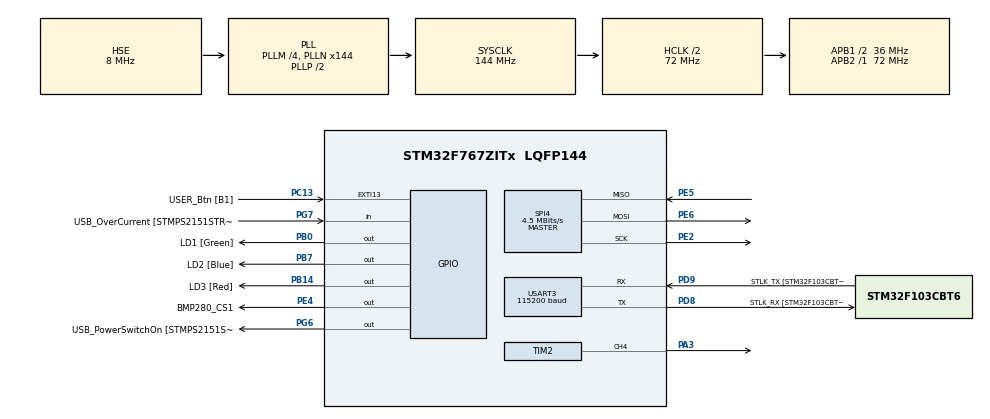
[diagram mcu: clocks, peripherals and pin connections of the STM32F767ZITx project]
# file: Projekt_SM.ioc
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ARM.CMSIS.5.6.0.CMSISJjCORE=true
ARM.CMSIS.5.6.0.CMSISJjDSP=Library
Mcu.Family=STM32F7
Mcu.Name=STM32F767ZITx
Mcu.Package=LQFP144
NVIC.EXTI15_10_IRQn=true\:0\:0\:false\:false\:true\:true\:true
NVIC.PriorityGroup=NVIC_PRIORITYGROUP_4
NVIC.SPI4_IRQn=true\:0\:0\:false\:false\:true\:true\:true
NVIC.TIM2_IRQn=true\:0\:0\:false\:false\:true\:true\:true
NVIC.TIM3_IRQn=true\:0\:0\:false\:false\:true\:true\:true
NVIC.TIM4_IRQn=true\:0\:0\:false\:false\:true\:true\:true
NVIC.USART3_IRQn=true\:0\:0\:false\:false\:true\:true\:true
PA1.GPIO_Label=RMII_REF_CLK [LAN8742A-CZ-TR_REFCLK0]
PA1.Signal=ETH_REF_CLK
PA10.GPIO_Label=USB_ID
PA10.Signal=USB_OTG_FS_ID
PA11.GPIO_Label=USB_DM
PA11.Signal=USB_OTG_FS_DM
PA12.GPIO_Label=USB_DP
PA12.Signal=USB_OTG_FS_DP
PA13.GPIO_Label=TMS
PA13.Mode=Serial_Wire
PA13.Signal=SYS_JTMS-SWDIO
PA14.GPIO_Label=TCK
PA14.Mode=Serial_Wire
PA14.Signal=SYS_JTCK-SWCLK
PA2.GPIO_Label=RMII_MDIO [LAN8742A-CZ-TR_MDIO]
PA2.Signal=ETH_MDIO
PA3.Signal=S_TIM2_CH4
PA7.GPIO_Label=RMII_CRS_DV [LAN8742A-CZ-TR_CRS_DV]
PA7.Signal=ETH_CRS_DV
PA8.GPIO_Label=USB_SOF [TP1]
PA8.Signal=USB_OTG_FS_SOF
PA9.GPIO_Label=USB_VBUS
PA9.Signal=USB_OTG_FS_VBUS
PB0.GPIO_Label=LD1 [Green]
PB0.Signal=GPIO_Output
PB13.GPIO_Label=RMII_TXD1 [LAN8742A-CZ-TR_TXD1]
PB13.Signal=ETH_TXD1
PB14.GPIO_Label=LD3 [Red]
PB14.Signal=GPIO_Output
PB3.GPIO_Label=SWO
PB3.Signal=SYS_JTDO-SWO
PB7.GPIO_Label=LD2 [Blue]
PB7.Signal=GPIO_Output
PC1.GPIO_Label=RMII_MDC [LAN8742A-CZ-TR_MDC]
PC1.Signal=ETH_MDC
PC13.GPIO_Label=USER_Btn [B1]
PC13.Signal=GPXTI13
PC14/OSC32_IN.Mode=LSE-External-Oscillator
PC14/OSC32_IN.Signal=RCC_OSC32_IN
PC15/OSC32_OUT.Mode=LSE-External-Oscillator
PC15/OSC32_OUT.Signal=RCC_OSC32_OUT
PC4.GPIO_Label=RMII_RXD0 [LAN8742A-CZ-TR_RXD0]
PC4.Signal=ETH_RXD0
PC5.GPIO_Label=RMII_RXD1 [LAN8742A-CZ-TR_RXD1]
PC5.Signal=ETH_RXD1
PD8.GPIO_Label=STLK_RX [STM32F103CBT6_PA3]
PD8.Mode=Asynchronous
PD8.Signal=USART3_TX
PD9.GPIO_Label=STLK_TX [STM32F103CBT6_PA2]
PD9.Mode=Asynchronous
PD9.Signal=USART3_RX
PE2.Mode=Full_Duplex_Master
PE2.Signal=SPI4_SCK
PE4.GPIO_Label=BMP280_CS1
PE4.GPIO_Speed=GPIO_SPEED_FREQ_HIGH
PE4.PinState=GPIO_PIN_SET
PE4.Signal=GPIO_Output
PE5.Mode=Full_Duplex_Master
PE5.Signal=SPI4_MISO
PE6.Mode=Full_Duplex_Master
PE6.Signal=SPI4_MOSI
PG11.GPIO_Label=RMII_TX_EN [LAN8742A-CZ-TR_TXEN]
PG11.Signal=ETH_TX_EN
PG13.GPIO_Label=RMII_TXD0 [LAN8742A-CZ-TR_TXD0]
PG13.Signal=ETH_TXD0
PG6.GPIO_Label=USB_PowerSwitchOn [STMPS2151STR_EN]
PG6.Signal=GPIO_Output
PG7.GPIO_Label=USB_OverCurrent [STMPS2151STR_FAULT]
PG7.Signal=GPIO_Input
PH0/OSC_IN.GPIO_Label=MCO [STM32F103CBT6_PA8]
PH0/OSC_IN.Mode=HSE-External-Clock-Source
PH0/OSC_IN.Signal=RCC_OSC_IN
PH1/OSC_OUT.Mode=HSE-External-Clock-Source
PH1/OSC_OUT.Signal=RCC_OSC_OUT
ProjectManager.HeapSize=0x200
ProjectManager.StackSize=0x400
ProjectManager.TargetToolchain=STM32CubeIDE
RCC.48MHZClocksFreq_Value=24000000
RCC.AHBCLKDivider=RCC_SYSCLK_DIV2
RCC.AHBFreq_Value=72000000
RCC.APB1CLKDivider=RCC_HCLK_DIV2
RCC.APB1Freq_Value=36000000
RCC.APB1TimFreq_Value=72000000
RCC.APB2Freq_Value=72000000
RCC.APB2TimFreq_Value=72000000
RCC.CortexFreq_Value=72000000
RCC.HCLKFreq_Value=72000000
RCC.HSE_VALUE=8000000
RCC.HSI_VALUE=16000000
RCC.PLLM=4
RCC.PLLMUL=RCC_PLL_MUL9
RCC.PLLN=144
RCC.PLLQ=6
RCC.PLLSourceVirtual=RCC_PLLSOURCE_HSE
RCC.PRESCALERUSB=RCC_USBCLKSOURCE_PLL_DIV1_5
RCC.SYSCLKFreq_VALUE=144000000
RCC.SYSCLKSource=RCC_SYSCLKSOURCE_PLLCLK
RCC.SYSCLKSourceVirtual=RCC_SYSCLKSOURCE_PLLCLK
RCC.USBFreq_Value=48000000
RCC.VCOOutputFreq_Value=288000000
SH.S_TIM2_CH4.0=TIM2_CH4,PWM Generation4 CH4
SPI4.BaudRatePrescaler=SPI_BAUDRATEPRESCALER_16
SPI4.CLKPhase=SPI_PHASE_2EDGE
SPI4.CLKPolarity=SPI_POLARITY_HIGH
SPI4.CalculateBaudRate=4.5 MBits/s
SPI4.DataSize=SPI_DATASIZE_8BIT
SPI4.Direction=SPI_DIRECTION_2LINES
SPI4.Mode=SPI_MODE_MASTER
SPI4.VirtualType=VM_MASTER
TIM2.Channel-PWM\ Generation4\ CH4=TIM_CHANNEL_4
TIM2.Period=999
TIM2.Prescaler=71
TIM3.Period=999
TIM3.Prescaler=7199
TIM4.Period=9999
TIM4.Prescaler=7199
USART3.BaudRate=115200
USART3.VirtualMode-Asynchronous=VM_ASYNC
VP_ARM.CMSIS_VS_CMSISJjCORE_5.3.0_5.6.0.Mode=CMSISJjCORE
VP_ARM.CMSIS_VS_CMSISJjDSP_1.7.0_5.6.0.Mode=CMSISJjDSP
VP_TIM2_VS_ClockSourceINT.Mode=Internal
VP_TIM3_VS_ClockSourceINT.Mode=Internal
VP_TIM4_VS_ClockSourceINT.Mode=Internal
board=NUCLEO-F767ZI

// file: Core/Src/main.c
/* USER CODE BEGIN Header */
/**
  ******************************************************************************
  * @file           : main.c
  * @brief          : Main program body
  ******************************************************************************
  * @attention
  *
  * Copyright (c) 2022 STMicroelectronics.
  * All rights reserved.
  *
  * This software is licensed under terms that can be found in the LICENSE file
  * in the root directory of this software component.
  * If no LICENSE file comes with this software, it is provided AS-IS.
  *
  ******************************************************************************
  */
/* USER CODE END Header */
#include "main.h"
#include "spi.h"
#include "tim.h"
#include "usart.h"
#include "gpio.h"

/* USER CODE BEGIN Includes */
#include "bmp280.h"
#include "bmp280_defs.h"
#include "arm_math.h"
#include "math.h"
#include "stdlib.h"
#include "stdio.h"
#include "string.h"
/* USER CODE END Includes */

/* USER CODE BEGIN PTD */

#define PID_TS        0.1        /* Sampling Time [s]*/
#define PID_KP        5          /* Proportional */
#define PID_KI        0.2	     /* Integral */
#define PID_KD        1.2        /* Derivative */

/* USER CODE END PTD */

/* USER CODE BEGIN PD */
#define BMP280_SPI (&hspi4)
#define BMP280_CS1 1
/* USER CODE END PD */

/* USER CODE BEGIN PV */

arm_pid_instance_f32 PID;

/* USER CODE END PV */

void SystemClock_Config(void);
/* USER CODE BEGIN PFP */
int8_t bmp280_spi_reg_read(uint8_t cs, uint8_t reg_addr, uint8_t *reg_data, uint16_t length);
int8_t bmp280_spi_reg_write(uint8_t cs, uint8_t reg_addr, uint8_t *reg_data, uint16_t length);
/* USER CODE END PFP */

/* USER CODE BEGIN 0 */

struct bmp280_dev bmp280 = {
	.dev_id = BMP280_CS1,
	.intf = BMP280_SPI_INTF,
	.read = bmp280_spi_reg_read,
	.write = bmp280_spi_reg_write,
	.delay_ms = HAL_Delay
};

struct bmp280_uncomp_data bmp280_data;

int8_t rslt;
uint16_t PWM;
uint16_t setValue = 20;
uint16_t PWM_duty;
double temp;
float uchyb;
float PWM_raw;
float SWV_temp;
char odebrane[3];

void HAL_TIM_PeriodElapsedCallback(TIM_HandleTypeDef *htim)
{
	 if (htim->Instance == TIM3)
	 {
		 /* Reading the raw data from sensor */
		 rslt = bmp280_get_uncomp_data(&bmp280_data, &bmp280);

		 rslt = bmp280_get_comp_temp_double(&temp, bmp280_data.uncomp_temp, &bmp280);
		 SWV_temp = (float)temp;

		 uchyb = (float)(setValue - temp);

		 PWM_raw = arm_pid_f32(&PID, uchyb);
		 PWM = (uint16_t)(PWM_raw);

		 if(PWM_raw>1000)
		 {
		 	// arm_pid_reset_f32(&PID);
		 	if(PID.state[2] > 1000) PID.state[2] = 1000;
		 }
		 else if (PWM_raw<0)
		 {
		 	// arm_pid_reset_f32(&PID);
		 	PWM=0;
		 	PID.state[2] = 0;
		 }
		 if(PWM<=1000)
		 {
			 PWM_duty = PWM/10;
			 __HAL_TIM_SET_COMPARE(&htim2, TIM_CHANNEL_4, PWM);
		 }
		 else if (PWM>1000)
		 {
			 PWM = 1000;
			 PWM_duty = PWM/10;
			 __HAL_TIM_SET_COMPARE(&htim2, TIM_CHANNEL_4, PWM);
		 }
	 }

	 if (htim->Instance == TIM4)
	 {
		 char txData[50];
		 int text = sprintf(txData, "set_temp: %u    temp: %d.%02u    PWM_duty: %u %%\r\n",
		 				 	(uint16_t)setValue, (int32_t)temp, (int32_t)((temp-(int32_t)temp)*100),
							(uint16_t)PWM_duty);

		 HAL_UART_Transmit(&huart3, (uint8_t*)txData, text, strlen(text));
	 }
}

void HAL_UART_RxCpltCallback(UART_HandleTypeDef *huart)
{
	if(huart->Instance == USART3)
	{
//		if(odebrane[0]=='H')
//		{
//			//konwersja na int od 1 elementu tablicy
//			PWM = ((int8_t)odebrane[1]-'0')*100+((int8_t)odebrane[2]-'0')*10+((int8_t)odebrane[3]-'0')*1;
//			if(PWM>100) PWM = 100;
//			else if(PWM<0) PWM = 0;
//			__HAL_TIM_SET_COMPARE(&htim2, TIM_CHANNEL_4, PWM*10);
//		}

		if(odebrane[0]=='T')
		{
			//konwersja na int od 1 elementu tablicy
			setValue = ((int8_t)odebrane[1]-'0')*10+((int8_t)odebrane[2]-'0')*1;
			if(setValue>40) setValue = 40;
			else if(setValue<20) setValue = 20;
//			__HAL_TIM_SET_COMPARE(&htim2, TIM_CHANNEL_4, setValue*10);
		}
	}

	HAL_UART_Receive_IT(&huart3, (uint8_t*)odebrane, sizeof(odebrane));
}

/* USER CODE END 0 */

int main(void)
{

  /* MCU Configuration--------------------------------------------------------*/

  /* Reset of all peripherals, Initializes the Flash interface and the Systick. */
  HAL_Init();

  /* Configure the system clock */
  SystemClock_Config();

  /* Initialize all configured peripherals */
  MX_GPIO_Init();
  MX_USART3_UART_Init();
  MX_SPI4_Init();
  MX_TIM2_Init();
  MX_TIM3_Init();
  MX_TIM4_Init();
  /* USER CODE BEGIN 2 */

  // ZAD. 4 ////////////////////////////////////
  HAL_TIM_Base_Start_IT(&htim3);
  HAL_TIM_Base_Start_IT(&htim4);
  HAL_TIM_PWM_Start(&htim2, TIM_CHANNEL_4);
  HAL_UART_Receive_IT(&huart3, (uint8_t*)odebrane, sizeof(odebrane));

  PID.Kp = PID_KP;
  PID.Ki = PID_KI * PID_TS;
  PID.Kd = PID_KD / PID_TS;

  arm_pid_init_f32(&PID, 1);

      struct bmp280_config conf;
      uint8_t rslt = bmp280_init(&bmp280);
      /* Always read the current settings before writing, especially when
      * all the configuration is not modified
      */
      rslt = bmp280_get_config(&conf, &bmp280);
      /* configuring the temperature oversampling, filter coefficient and output data rate */
      /* Overwrite the desired settings */
      conf.filter = BMP280_FILTER_OFF;
      /* Temperature oversampling set at 1x */
      conf.os_temp = BMP280_OS_1X;
      /* Pressure over sampling none (disabling pressure measurement) */
      conf.os_pres = BMP280_OS_1X;
      /* Setting the output data rate as 1HZ(1000ms) */
      conf.odr = BMP280_ODR_1000_MS;
      rslt = bmp280_set_config(&conf, &bmp280);
      /* Always set the power mode after setting the configuration */
      rslt = bmp280_set_power_mode(BMP280_NORMAL_MODE, &bmp280);
      /* Pressure over sampling 1X */
      conf.os_pres = BMP280_OS_1X;
  /////////////////////////////////////////////

  /* USER CODE END 2 */

  /* Infinite loop */
  while (1)
  {

  }
}

void SystemClock_Config(void)
{
  RCC_OscInitTypeDef RCC_OscInitStruct = {0};
  RCC_ClkInitTypeDef RCC_ClkInitStruct = {0};

  /** Configure LSE Drive Capability
  */
  HAL_PWR_EnableBkUpAccess();
  /** Configure the main internal regulator output voltage
  */
  __HAL_RCC_PWR_CLK_ENABLE();
  __HAL_PWR_VOLTAGESCALING_CONFIG(PWR_REGULATOR_VOLTAGE_SCALE3);
  /** Initializes the RCC Oscillators according to the specified parameters
  * in the RCC_OscInitTypeDef structure.
  */
  RCC_OscInitStruct.OscillatorType = RCC_OSCILLATORTYPE_HSE;
  RCC_OscInitStruct.HSEState = RCC_HSE_BYPASS;
  RCC_OscInitStruct.PLL.PLLState = RCC_PLL_ON;
  RCC_OscInitStruct.PLL.PLLSource = RCC_PLLSOURCE_HSE;
  RCC_OscInitStruct.PLL.PLLM = 4;
  RCC_OscInitStruct.PLL.PLLN = 144;
  RCC_OscInitStruct.PLL.PLLP = RCC_PLLP_DIV2;
  RCC_OscInitStruct.PLL.PLLQ = 6;
  RCC_OscInitStruct.PLL.PLLR = 2;
  if (HAL_RCC_OscConfig(&RCC_OscInitStruct) != HAL_OK)
  {
    Error_Handler();
  }
  /** Initializes the CPU, AHB and APB buses clocks
  */
  RCC_ClkInitStruct.ClockType = RCC_CLOCKTYPE_HCLK|RCC_CLOCKTYPE_SYSCLK
                              |RCC_CLOCKTYPE_PCLK1|RCC_CLOCKTYPE_PCLK2;
  RCC_ClkInitStruct.SYSCLKSource = RCC_SYSCLKSOURCE_PLLCLK;
  RCC_ClkInitStruct.AHBCLKDivider = RCC_SYSCLK_DIV2;
  RCC_ClkInitStruct.APB1CLKDivider = RCC_HCLK_DIV2;
  RCC_ClkInitStruct.APB2CLKDivider = RCC_HCLK_DIV1;

  if (HAL_RCC_ClockConfig(&RCC_ClkInitStruct, FLASH_LATENCY_2) != HAL_OK)
  {
    Error_Handler();
  }
}

/* USER CODE BEGIN 4 */

#define BMP280_SPI_BUFFER_LEN 28
#define BMP280_DATA_INDEX 1

int8_t bmp280_spi_reg_read ( uint8_t cs , uint8_t reg_addr , uint8_t * reg_data , uint16_t length)
{
	/* Implement the SPI read routine according to the target machine . */
	HAL_StatusTypeDef status = HAL_OK ;
	int32_t iError = BMP280_OK ;
	uint8_t txarray [ BMP280_SPI_BUFFER_LEN ] = {0 ,};
	uint8_t rxarray [ BMP280_SPI_BUFFER_LEN ] = {0 ,};
	uint8_t stringpos ;
	txarray [0] = reg_addr ;

	/* Software slave selection procedure */
	if(cs == BMP280_CS1 ){
		HAL_GPIO_WritePin ( BMP280_CS1_GPIO_Port , BMP280_CS1_Pin , GPIO_PIN_RESET );
	}

	/* Data exchange */
	status = HAL_SPI_TransmitReceive ( BMP280_SPI , ( uint8_t *) (& txarray ), ( uint8_t *)
			(&rxarray ), length +1, 5);
	while ( BMP280_SPI -> State == HAL_SPI_STATE_BUSY ) {};

	/* Disable all slaves */
	HAL_GPIO_WritePin ( BMP280_CS1_GPIO_Port , BMP280_CS1_Pin , GPIO_PIN_SET );

	/* Copy data from rx buffer */
	for ( stringpos = 0; stringpos < length ; stringpos ++) {
		reg_data [ stringpos ] = rxarray [ stringpos + BMP280_DATA_INDEX ];
	}

	// memcpy ( reg_data , rxarray + BMP280_DATA_INDEX , length );
	if ( status != HAL_OK ) {
	// The BME280 API calls for 0 return value as a success , and -1 returned as failure
		iError = ( -1);
	}

	return ( int8_t ) iError ;
}

int8_t bmp280_spi_reg_write ( uint8_t cs , uint8_t reg_addr , uint8_t * reg_data , uint16_t length )
{
	/* Implement the SPI write routine according to the target machine . */
	HAL_StatusTypeDef status = HAL_OK ;
	int32_t iError = BMP280_OK ;
	uint8_t txarray [ BMP280_SPI_BUFFER_LEN ];
	uint8_t stringpos ;

	/* Copy register address and data to tx buffer */
	txarray [0] = reg_addr ;
	for ( stringpos = 0; stringpos < length ; stringpos ++) {
		txarray [ stringpos + BMP280_DATA_INDEX ] = reg_data [ stringpos ];
	}

	// memcpy ( txarray + BMP280_DATA_INDEX , reg_data , length );
	/* Software slave selection procedure */
	if(cs == BMP280_CS1 ){
		HAL_GPIO_WritePin ( BMP280_CS1_GPIO_Port , BMP280_CS1_Pin , GPIO_PIN_RESET );
	}

	/* Data exchange */
	status = HAL_SPI_Transmit ( BMP280_SPI , ( uint8_t *) (& txarray ), length +1, 100) ;
	while ( BMP280_SPI -> State == HAL_SPI_STATE_BUSY ) {};

	/* Disable all slaves */
	HAL_GPIO_WritePin (BMP280_CS1_GPIO_Port, BMP280_CS1_Pin, GPIO_PIN_SET);
	if ( status != HAL_OK ) {
		// The BMP280 API calls for 0 return value as a success , and -1 returned as failure
		iError = ( -1);
	}

	return ( int8_t ) iError ;
}

/* USER CODE END 4 */

void Error_Handler(void)
{
  __disable_irq();
  while (1)
  {
  }
}
